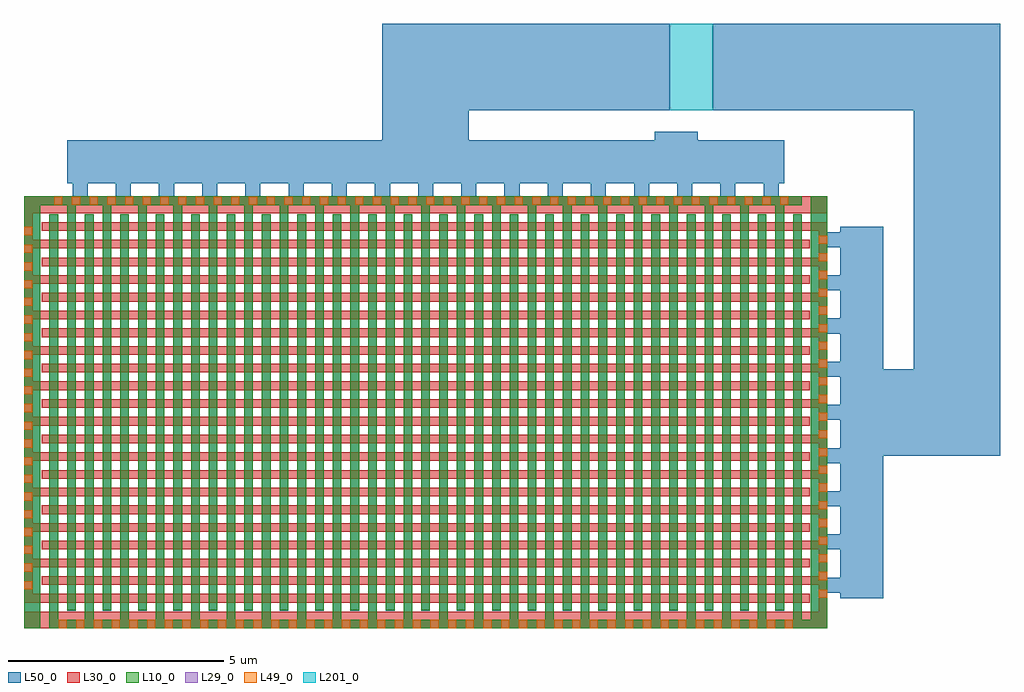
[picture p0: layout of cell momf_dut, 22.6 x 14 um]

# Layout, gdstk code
import gdstk
lib = gdstk.Library(unit=1e-6, precision=1e-09)
def R(c, l, rs):  # rectangles x0, y0, x1, y1
    for r in rs: c.add(gdstk.rectangle(r[:2], r[2:], *l))
def A(c, l, x, y, w, h, nx, ny, dx, dy):  # array of equal rectangles
    R(c, l, [(x+i*dx, y+j*dy, x+i*dx+w, y+j*dy+h) for i in range(nx) for j in range(ny)])
L10_0 = (10, 0)
L29_0 = (29, 0)
L30_0 = (30, 0)
L49_0 = (49, 0)
L50_0 = (50, 0)
L201_0 = (201, 0)

momf_dut = lib.new_cell('momf_dut')
A(momf_dut, L10_0, 48.99, 26, 0.2, 9.385, 22, 1, 0.82, 0)
A(momf_dut, L10_0, 49.4, 26.215, 0.2, 9.385, 21, 1, 0.82, 0)
R(momf_dut, L10_0, [(48.4,25.8,48.78,35.6), (48.99,25.8,67,26), (66.62,26,67,35.8), (48.4,35.6,66.41,35.8)])
A(momf_dut, L29_0, 49.2, 25.805, 0.19, 0.19, 42, 1, 0.41, 0)
A(momf_dut, L29_0, 66.805, 26.505, 0.19, 0.19, 1, 21, 0, 0.41)
A(momf_dut, L29_0, 48.405, 26.705, 0.19, 0.19, 1, 21, 0, 0.41)
A(momf_dut, L29_0, 49.1, 35.605, 0.19, 0.19, 42, 1, 0.41, 0)
A(momf_dut, L30_0, 48.6, 26.395, 17.99, 0.2, 1, 11, 0, 0.82)
A(momf_dut, L30_0, 48.81, 26.805, 17.99, 0.2, 1, 11, 0, 0.82)
R(momf_dut, L30_0, [(48.4,25.8,66.8,26.185), (66.8,25.8,67,35.205), (48.4,26.395,48.6,35.8), (48.6,35.415,67,35.8)])
A(momf_dut, L49_0, 49.2, 25.805, 0.19, 0.19, 42, 1, 0.41, 0)
A(momf_dut, L49_0, 66.805, 26.505, 0.19, 0.19, 1, 21, 0, 0.41)
A(momf_dut, L49_0, 48.405, 26.705, 0.19, 0.19, 1, 21, 0, 0.41)
A(momf_dut, L49_0, 49.1, 35.605, 0.19, 0.19, 42, 1, 0.41, 0)
A(momf_dut, L50_0, 48.99, 26, 0.2, 9.39, 22, 1, 0.82, 0)
A(momf_dut, L50_0, 49.4, 26.21, 0.2, 9.39, 21, 1, 0.82, 0)
A(momf_dut, L50_0, 66.62, 26.625, 0.68, 0.35, 1, 5, 0, 1)
A(momf_dut, L50_0, 66.62, 26.975, 0.38, 0.65, 1, 8, 0, 1)
A(momf_dut, L50_0, 66.62, 32.625, 0.68, 0.35, 1, 3, 0, 1)
A(momf_dut, L50_0, 49.525, 35.8, 0.35, 0.3, 17, 1, 1, 0)
R(momf_dut, L50_0, [(48.4,25.8,48.78,35.6), (48.99,25.8,66.62,26), (66.62,25.8,67,26.625), (67.3,26.5,68.3,31.625), (68.3,29.8,71,31.625), (66.62,31.625,71,31.8), (66.62,31.8,68.3,31.975), (69,31.8,71,37.8), (67.3,31.975,68.3,35.1), (66.62,34.975,67,35.8), (48.4,35.6,66.41,35.8), (49.4,36.1,66,37.1), (56.7,37.1,58.7,39.8), (63,37.1,64,37.3), (58.7,37.8,63.35,39.8), (64.35,37.8,71,39.8)])
R(momf_dut, L201_0, [(63.35,37.8,64.35,39.8)])

lib.write_gds('momf_dut.gds')
